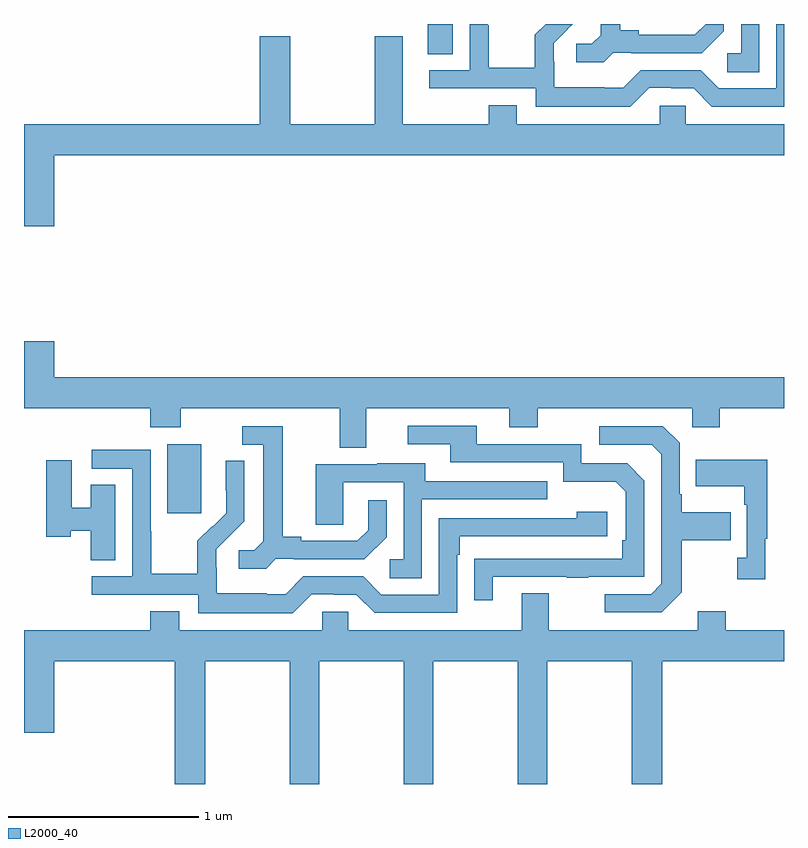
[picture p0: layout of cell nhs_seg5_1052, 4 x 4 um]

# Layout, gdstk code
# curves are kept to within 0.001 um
import gdstk
lib = gdstk.Library(unit=1e-6, precision=1e-09)
def R(c, l, rs):  # rectangles x0, y0, x1, y1
    for r in rs: c.add(gdstk.rectangle(r[:2], r[2:], *l))
def P(c, l, *ps):  # polygons
    for p in ps: c.add(gdstk.Polygon(p, *l))
L2000_40 = (2000, 40)

nhs_seg5_1052 = lib.new_cell('nhs_seg5_1052')
R(nhs_seg5_1052, L2000_40, [(177.755,840.225,177.934,840.586), (179.126,842.641,179.257,842.799)])
P(nhs_seg5_1052, L2000_40, [(180.291,842.463),(180.407,842.463),(180.407,842.46),(180.525,842.46),(180.621,842.364),(181,842.364),(181,842.799),(180.96,842.799),(180.96,842.46),(180.657,842.46),(180.561,842.556),(180.246,842.556),(180.153,842.463),(180.053,842.463),(180.053,842.467),(179.79,842.467),(179.79,842.601),(179.788,842.601),(179.788,842.698),(179.862,842.772),(179.861,842.773),(179.887,842.799),(179.745,842.799),(179.689,842.743),(179.689,842.569),(179.445,842.569),(179.445,842.792),(179.442,842.792),(179.442,842.799),(179.346,842.799),(179.346,842.556),(179.133,842.556),(179.133,842.46),(179.694,842.46),(179.694,842.363),(180.191,842.363)],
  [(180.102,842.649),(180.196,842.649),(180.196,842.646),(180.568,842.646),(180.684,842.762),(180.684,842.799),(180.587,842.799),(180.53,842.742),(180.235,842.742),(180.235,842.765),(180.139,842.765),(180.139,842.799),(180.035,842.799),(180.035,842.741),(179.988,842.694),(179.907,842.694),(179.907,842.597),(180.05,842.597)],
  [(180.87,842.799),(180.774,842.799),(180.774,842.646),(180.702,842.646),(180.702,842.545),(180.87,842.545)],
  [(177.16,842.108),(181,842.108),(181,842.272),(180.483,842.272),(180.483,842.37),(180.345,842.37),(180.345,842.272),(179.593,842.272),(179.593,842.371),(179.446,842.371),(179.446,842.272),(178.993,842.272),(178.993,842.734),(178.846,842.734),(178.846,842.272),(178.401,842.272),(178.401,842.734),(178.241,842.734),(178.241,842.272),(177,842.272),(177,841.734),(177.16,841.734)],
  [(178.801,840.776),(179.555,840.776),(179.555,840.677),(179.703,840.677),(179.703,840.776),(180.516,840.776),(180.516,840.677),(180.663,840.677),(180.663,840.776),(181,840.776),(181,840.94),(177.16,840.94),(177.16,841.129),(177,841.129),(177,840.776),(177.665,840.776),(177.665,840.677),(177.825,840.677),(177.825,840.776),(178.661,840.776),(178.661,840.568),(178.801,840.568)],
  [(179.467,839.889),(179.857,839.889),(179.857,839.884),(179.969,839.884),(179.969,839.889),(180.264,839.889),(180.264,840.396),(180.174,840.486),(179.934,840.486),(179.934,840.588),(179.383,840.588),(179.383,840.684),(179.019,840.684),(179.019,840.588),(179.243,840.588),(179.243,840.492),(179.838,840.492),(179.838,840.389),(180.115,840.389),(180.168,840.336),(180.168,840.082),(180.148,840.082),(180.148,839.985),(179.371,839.984),(179.371,839.766),(179.467,839.766)],
  [(180.463,839.809),(180.463,840.082),(180.719,840.082),(180.719,840.229),(180.463,840.229),(180.463,840.325),(180.45,840.325),(180.45,840.594),(180.363,840.681),(180.027,840.681),(180.027,840.585),(180.303,840.585),(180.354,840.534),(180.354,839.853),(180.3,839.799),(180.057,839.799),(180.057,839.703),(180.357,839.703)],
  [(178.326,839.985),(178.42,839.985),(178.42,839.982),(178.792,839.982),(178.908,840.098),(178.908,840.292),(178.811,840.292),(178.811,840.135),(178.754,840.078),(178.459,840.078),(178.459,840.101),(178.363,840.101),(178.363,840.681),(178.149,840.681),(178.149,840.585),(178.259,840.585),(178.259,840.077),(178.212,840.03),(178.131,840.03),(178.131,839.933),(178.274,839.933)],
  [(178.515,839.799),(178.631,839.799),(178.631,839.796),(178.749,839.796),(178.845,839.7),(179.28,839.7),(179.28,840.005),(179.293,840.005),(179.293,840.102),(180.07,840.102),(180.07,840.232),(179.909,840.232),(179.909,840.198),(179.184,840.198),(179.184,839.796),(178.881,839.796),(178.785,839.892),(178.47,839.892),(178.377,839.799),(178.277,839.799),(178.277,839.803),(178.014,839.803),(178.014,839.937),(178.012,839.937),(178.012,840.034),(178.158,840.182),(178.158,840.5),(178.062,840.5),(178.062,840.346),(178.064,840.346),(178.064,840.224),(177.993,840.153),(177.99,840.156),(177.913,840.079),(177.913,839.905),(177.669,839.905),(177.669,840.128),(177.666,840.128),(177.666,840.558),(177.357,840.558),(177.357,840.459),(177.57,840.459),(177.57,839.892),(177.357,839.892),(177.357,839.796),(177.918,839.796),(177.918,839.699),(178.415,839.699)],
  [(180.901,840.089),(180.913,840.089),(180.913,840.505),(180.535,840.505),(180.535,840.365),(180.792,840.365),(180.792,840.269),(180.804,840.269),(180.804,839.99),(180.753,839.99),(180.753,839.877),(180.901,839.877)],
  [(177.481,840.374),(177.35,840.374),(177.35,840.253),(177.25,840.253),(177.25,840.502),(177.116,840.502),(177.116,840.101),(177.246,840.101),(177.246,840.131),(177.35,840.131),(177.35,839.977),(177.481,839.977)],
  [(179.094,840.297),(179.753,840.297),(179.753,840.393),(179.113,840.393),(179.113,840.487),(178.859,840.487),(178.859,840.483),(178.535,840.483),(178.535,840.163),(178.68,840.163),(178.68,840.387),(178.998,840.387),(178.998,839.982),(178.926,839.982),(178.926,839.881),(179.094,839.881)],
  [(177.954,839.444),(178.399,839.444),(178.399,838.799),(178.554,838.799),(178.554,839.444),(178.999,839.444),(178.999,838.799),(179.154,838.799),(179.154,839.444),(179.599,839.444),(179.599,838.799),(179.754,838.799),(179.754,839.444),(180.199,839.444),(180.199,838.799),(180.359,838.799),(180.359,839.444),(181,839.444),(181,839.608),(180.693,839.608),(180.693,839.707),(180.545,839.707),(180.545,839.608),(179.761,839.608),(179.761,839.803),(179.621,839.803),(179.621,839.608),(178.707,839.608),(178.707,839.706),(178.569,839.706),(178.569,839.608),(177.817,839.608),(177.817,839.707),(177.665,839.707),(177.665,839.608),(177,839.608),(177,839.07),(177.16,839.07),(177.16,839.444),(177.794,839.444),(177.794,838.799),(177.954,838.799)])

lib.write_gds('nhs_seg5_1052.gds')
